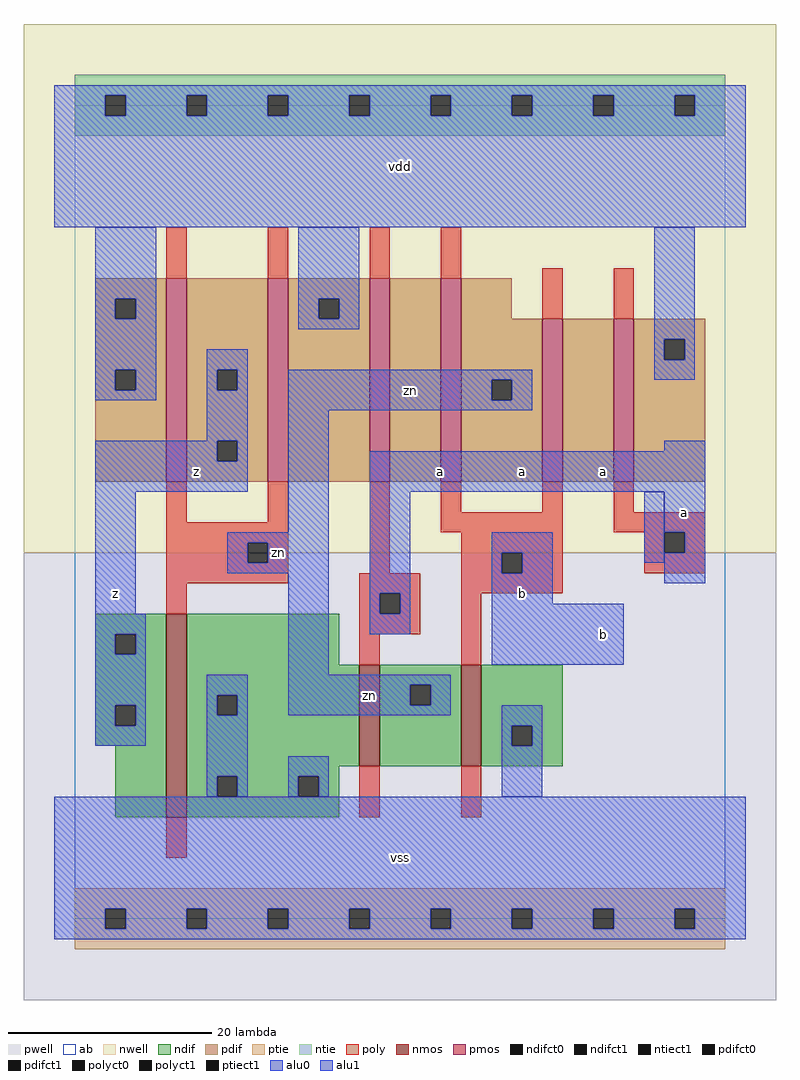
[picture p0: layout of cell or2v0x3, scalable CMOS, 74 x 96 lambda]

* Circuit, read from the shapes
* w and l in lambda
.subckt or2v0x3 a b vdd vss z zn
M1 vss zn z vss nfet w=20 l=2
M2 zn a vss vss nfet w=10 l=2
M3 vss b zn vss nfet w=10 l=2
M4 z zn vdd vdd pfet w=20 l=2 m=2
M5 n1 a vdd vdd pfet w=20 l=2
M6 zn b n1 vdd pfet w=20 l=2
M7 n2 b zn vdd pfet w=16 l=2
M8 vdd a n2 vdd pfet w=16 l=2
.ends

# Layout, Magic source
magic
tech scmos
<< ab >>
rect 0 0 64 80
<< nwell >>
rect -5 36 69 88
<< pwell >>
rect -5 -8 69 36
<< poly >>
rect 9 63 11 68
rect 19 63 21 68
rect 29 63 31 68
rect 36 63 38 68
rect 46 59 48 64
rect 53 59 55 64
rect 9 39 11 43
rect 19 39 21 43
rect 9 37 21 39
rect 9 35 17 37
rect 19 35 21 37
rect 9 33 21 35
rect 29 34 31 43
rect 36 40 38 43
rect 46 40 48 43
rect 36 38 48 40
rect 53 40 55 43
rect 53 38 62 40
rect 38 36 48 38
rect 38 34 42 36
rect 44 34 48 36
rect 56 36 58 38
rect 60 36 62 38
rect 56 34 62 36
rect 9 30 11 33
rect 28 32 34 34
rect 28 30 30 32
rect 32 30 34 32
rect 28 28 34 30
rect 38 32 48 34
rect 28 25 30 28
rect 38 25 40 32
rect 28 10 30 15
rect 38 10 40 15
rect 9 6 11 10
<< ndif >>
rect 2 28 9 30
rect 2 26 4 28
rect 6 26 9 28
rect 2 21 9 26
rect 2 19 4 21
rect 6 19 9 21
rect 2 17 9 19
rect 4 10 9 17
rect 11 25 26 30
rect 11 22 28 25
rect 11 20 14 22
rect 16 20 28 22
rect 11 15 28 20
rect 30 23 38 25
rect 30 21 33 23
rect 35 21 38 23
rect 30 15 38 21
rect 40 19 48 25
rect 40 17 43 19
rect 45 17 48 19
rect 40 15 48 17
rect 11 14 26 15
rect 11 12 14 14
rect 16 12 22 14
rect 24 12 26 14
rect 11 10 26 12
<< pdif >>
rect 2 61 9 63
rect 2 59 4 61
rect 6 59 9 61
rect 2 54 9 59
rect 2 52 4 54
rect 6 52 9 54
rect 2 43 9 52
rect 11 54 19 63
rect 11 52 14 54
rect 16 52 19 54
rect 11 47 19 52
rect 11 45 14 47
rect 16 45 19 47
rect 11 43 19 45
rect 21 61 29 63
rect 21 59 24 61
rect 26 59 29 61
rect 21 43 29 59
rect 31 43 36 63
rect 38 59 43 63
rect 38 53 46 59
rect 38 51 41 53
rect 43 51 46 53
rect 38 43 46 51
rect 48 43 53 59
rect 55 57 62 59
rect 55 55 58 57
rect 60 55 62 57
rect 55 43 62 55
<< alu1 >>
rect -2 81 66 82
rect -2 79 3 81
rect 5 79 11 81
rect 13 79 19 81
rect 21 79 27 81
rect 29 79 35 81
rect 37 79 43 81
rect 45 79 51 81
rect 53 79 59 81
rect 61 79 66 81
rect -2 68 66 79
rect 13 54 17 56
rect 13 52 14 54
rect 16 52 17 54
rect 13 47 17 52
rect 2 45 14 47
rect 16 45 17 47
rect 2 42 17 45
rect 2 30 6 42
rect 58 46 62 47
rect 2 28 7 30
rect 2 26 4 28
rect 6 26 7 28
rect 2 21 7 26
rect 29 42 62 46
rect 29 32 33 42
rect 29 30 30 32
rect 32 30 33 32
rect 29 28 33 30
rect 41 36 47 38
rect 41 34 42 36
rect 44 34 47 36
rect 58 38 62 42
rect 60 36 62 38
rect 41 31 47 34
rect 58 33 62 36
rect 41 25 54 31
rect 2 19 4 21
rect 6 19 7 21
rect 2 17 7 19
rect -2 1 66 12
rect -2 -1 3 1
rect 5 -1 11 1
rect 13 -1 19 1
rect 21 -1 27 1
rect 29 -1 35 1
rect 37 -1 43 1
rect 45 -1 51 1
rect 53 -1 59 1
rect 61 -1 66 1
rect -2 -2 66 -1
<< ptie >>
rect 0 1 64 3
rect 0 -1 3 1
rect 5 -1 11 1
rect 13 -1 19 1
rect 21 -1 27 1
rect 29 -1 35 1
rect 37 -1 43 1
rect 45 -1 51 1
rect 53 -1 59 1
rect 61 -1 64 1
rect 0 -3 64 -1
<< ntie >>
rect 0 81 64 83
rect 0 79 3 81
rect 5 79 11 81
rect 13 79 19 81
rect 21 79 27 81
rect 29 79 35 81
rect 37 79 43 81
rect 45 79 51 81
rect 53 79 59 81
rect 61 79 64 81
rect 0 77 64 79
<< nmos >>
rect 9 10 11 30
rect 28 15 30 25
rect 38 15 40 25
<< pmos >>
rect 9 43 11 63
rect 19 43 21 63
rect 29 43 31 63
rect 36 43 38 63
rect 46 43 48 59
rect 53 43 55 59
<< polyct0 >>
rect 17 35 19 37
<< polyct1 >>
rect 42 34 44 36
rect 58 36 60 38
rect 30 30 32 32
<< ndifct0 >>
rect 14 20 16 22
rect 33 21 35 23
rect 43 17 45 19
rect 14 12 16 14
rect 22 12 24 14
<< ndifct1 >>
rect 4 26 6 28
rect 4 19 6 21
<< ntiect1 >>
rect 3 79 5 81
rect 11 79 13 81
rect 19 79 21 81
rect 27 79 29 81
rect 35 79 37 81
rect 43 79 45 81
rect 51 79 53 81
rect 59 79 61 81
<< ptiect1 >>
rect 3 -1 5 1
rect 11 -1 13 1
rect 19 -1 21 1
rect 27 -1 29 1
rect 35 -1 37 1
rect 43 -1 45 1
rect 51 -1 53 1
rect 59 -1 61 1
<< pdifct0 >>
rect 4 59 6 61
rect 4 52 6 54
rect 24 59 26 61
rect 41 51 43 53
rect 58 55 60 57
<< pdifct1 >>
rect 14 52 16 54
rect 14 45 16 47
<< alu0 >>
rect 2 61 8 68
rect 2 59 4 61
rect 6 59 8 61
rect 2 54 8 59
rect 22 61 28 68
rect 22 59 24 61
rect 26 59 28 61
rect 22 58 28 59
rect 57 57 61 68
rect 2 52 4 54
rect 6 52 8 54
rect 2 51 8 52
rect 57 55 58 57
rect 60 55 61 57
rect 21 53 45 54
rect 57 53 61 55
rect 21 51 41 53
rect 43 51 45 53
rect 21 50 45 51
rect 21 38 25 50
rect 15 37 25 38
rect 15 35 17 37
rect 19 35 25 37
rect 15 34 25 35
rect 21 24 25 34
rect 56 35 58 42
rect 13 22 17 24
rect 13 20 14 22
rect 16 20 17 22
rect 21 23 37 24
rect 21 21 33 23
rect 35 21 37 23
rect 21 20 37 21
rect 13 14 17 20
rect 42 19 46 21
rect 42 17 43 19
rect 45 17 46 19
rect 13 12 14 14
rect 16 12 17 14
rect 21 14 25 16
rect 21 12 22 14
rect 24 12 25 14
rect 42 12 46 17
<< labels >>
rlabel alu0 20 36 20 36 6 zn
rlabel alu0 29 22 29 22 6 zn
rlabel alu0 33 52 33 52 6 zn
rlabel alu1 4 32 4 32 6 z
rlabel alu1 12 44 12 44 6 z
rlabel alu1 32 6 32 6 6 vss
rlabel alu1 44 32 44 32 6 b
rlabel alu1 44 44 44 44 6 a
rlabel alu1 36 44 36 44 6 a
rlabel alu1 32 74 32 74 6 vdd
rlabel alu1 52 28 52 28 6 b
rlabel alu1 60 40 60 40 6 a
rlabel alu1 52 44 52 44 6 a
<< end >>
